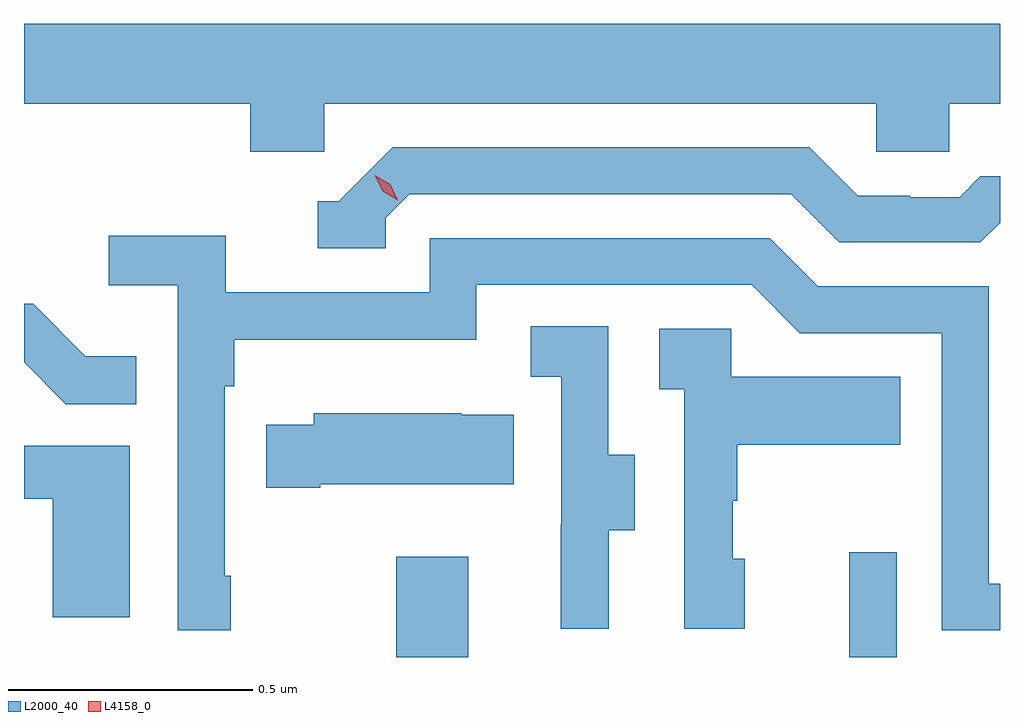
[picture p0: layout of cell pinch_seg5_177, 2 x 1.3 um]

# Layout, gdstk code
import gdstk
lib = gdstk.Library(unit=1e-6, precision=1e-09)
def R(c, l, rs):  # rectangles x0, y0, x1, y1
    for r in rs: c.add(gdstk.rectangle(r[:2], r[2:], *l))
def P(c, l, *ps):  # polygons
    for p in ps: c.add(gdstk.Polygon(p, *l))
L2000_40 = (2000, 40)
L4158_0 = (4158, 0)

pinch_seg5_177 = lib.new_cell('pinch_seg5_177')
R(pinch_seg5_177, L2000_40, [(1143.07,880.934,1143.217,881.14), (1143.998,880.934,1144.095,881.149)])
P(pinch_seg5_177, L2000_40, [(1142.922,882.068),(1144.053,882.068),(1144.053,881.97),(1144.203,881.97),(1144.203,882.068),(1144.307,882.068),(1144.307,882.232),(1142.307,882.232),(1142.307,882.068),(1142.771,882.068),(1142.771,881.97),(1142.922,881.97)],
  [(1143.048,881.835),(1143.096,881.883),(1143.879,881.883),(1143.978,881.784),(1144.267,881.784),(1144.306,881.823),(1144.307,881.823),(1144.307,881.92),(1144.267,881.92),(1144.225,881.877),(1144.122,881.877),(1144.122,881.88),(1144.015,881.88),(1143.916,881.979),(1143.063,881.979),(1142.952,881.868),(1142.909,881.868),(1142.909,881.772),(1143.048,881.772)],
  [(1142.731,881.101),(1142.718,881.101),(1142.718,881.489),(1142.738,881.489),(1142.738,881.585),(1143.234,881.585),(1143.234,881.697),(1143.798,881.697),(1143.897,881.598),(1144.188,881.598),(1144.188,880.989),(1144.307,880.989),(1144.307,881.085),(1144.284,881.085),(1144.284,881.694),(1143.934,881.694),(1143.835,881.793),(1143.138,881.793),(1143.138,881.682),(1142.72,881.682),(1142.72,881.798),(1142.481,881.798),(1142.481,881.696),(1142.622,881.696),(1142.622,880.989),(1142.731,880.989)],
  [(1142.537,881.551),(1142.433,881.551),(1142.326,881.658),(1142.307,881.658),(1142.307,881.538),(1142.393,881.452),(1142.537,881.452)],
  [(1143.505,881.194),(1143.559,881.194),(1143.559,881.349),(1143.504,881.349),(1143.504,881.612),(1143.345,881.612),(1143.345,881.509),(1143.408,881.509),(1143.408,881.205),(1143.407,881.205),(1143.407,880.992),(1143.505,880.992)],
  [(1143.784,881.136),(1143.759,881.136),(1143.759,881.255),(1143.769,881.255),(1143.769,881.369),(1144.103,881.369),(1144.103,881.509),(1143.756,881.509),(1143.756,881.607),(1143.609,881.607),(1143.609,881.483),(1143.66,881.483),(1143.66,880.992),(1143.784,880.992)],
  [(1142.914,881.288),(1143.311,881.288),(1143.311,881.431),(1143.203,881.431),(1143.203,881.434),(1142.901,881.434),(1142.901,881.41),(1142.803,881.41),(1142.803,881.281),(1142.914,881.281)],
  [(1142.524,881.367),(1142.307,881.367),(1142.307,881.259),(1142.366,881.259),(1142.366,881.016),(1142.524,881.016)])
P(pinch_seg5_177, L4158_0, [(1143.073,881.87),(1143.042,881.889),(1143.026,881.922),(1143.026,881.922),(1143.026,881.922),(1143.057,881.903),(1143.073,881.87),(1143.073,881.87)])

lib.write_gds('pinch_seg5_177.gds')
